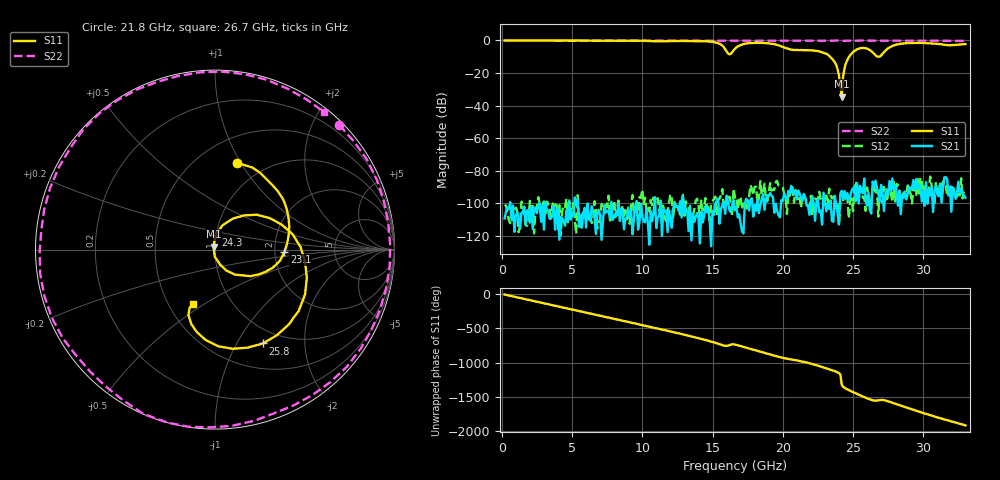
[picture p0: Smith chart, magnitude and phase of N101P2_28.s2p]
# GHZ S RI R 50
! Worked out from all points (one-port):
!   329 points, 200 MHz to 33 GHz, reference 50 ohm
!   lowest |S11| = -34.4 dB at 24.2 GHz (marker M1), VSWR 1.04, Z = 49.1 + j1.68 ohm
!   |S11| at or under -10 dB: 23.36 GHz to 24.73 GHz (1.364 GHz wide, 5.67 % of centre); 26.79581 GHz to 26.81027 GHz (14.47 MHz wide, 0.054 % of centre)
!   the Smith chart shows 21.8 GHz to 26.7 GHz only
!   S11 on the Smith chart (normalised r, x): 21.8 GHz: 0.75, +0.96; 23.1 GHz: 2.26, -0.07; 24.3 GHz: 0.99, +0.16; 25.8 GHz: 0.81, -1.29; 26.7 GHz: 0.66, -0.45
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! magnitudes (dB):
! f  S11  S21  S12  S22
! 200 MHz  0.0  -109.3  -101.7  0.0
! 5.7 GHz  -0.1  -114.9  -104.8  -0.1
! 11.2 GHz  -0.5  -107.9  -103.5  0.0
! 15.1 GHz  -1.0  -107.0  -97.5  -0.2
! 15.6 GHz  -2.5  -103.5  -95.1  -0.1
! 16.2 GHz  -8.6  -104.2  -95.9  -0.1
! 16.6 GHz  -5.1  -104.3  -96.5  -0.2
! 18.4 GHz  -1.5  -101.1  -86.4  -0.1
! 21.8 GHz  -6.0  -101.5  -99.0  -0.2
! 22.1 GHz  -6.1  -95.5  -107.3  -0.2
! 23.1 GHz  -8.2  -104.9  -95.2  -0.2
! 23.8 GHz  -15.0  -100.7  -102.0  0.0
! 24 GHz  -21.3  -113.0  -113.5  0.0
! 24.2 GHz  -34.4  -92.3  -98.1  -0.2
! 24.3 GHz  -21.8  -97.6  -98.8  -0.2
! 24.5 GHz  -14.0  -97.2  -95.0  -0.2
! 24.8 GHz  -9.1  -95.9  -98.9  -0.1
! 25.8 GHz  -4.6  -84.8  -96.1  -0.1
! 26.7 GHz  -9.7  -90.9  -89.8  -0.2
! 27.6 GHz  -4.3  -86.3  -93.8  -0.2
! 28.9 GHz  -1.6  -94.0  -89.0  -0.2
! 33 GHz  -2.2  -96.6  -91.5  -0.3
